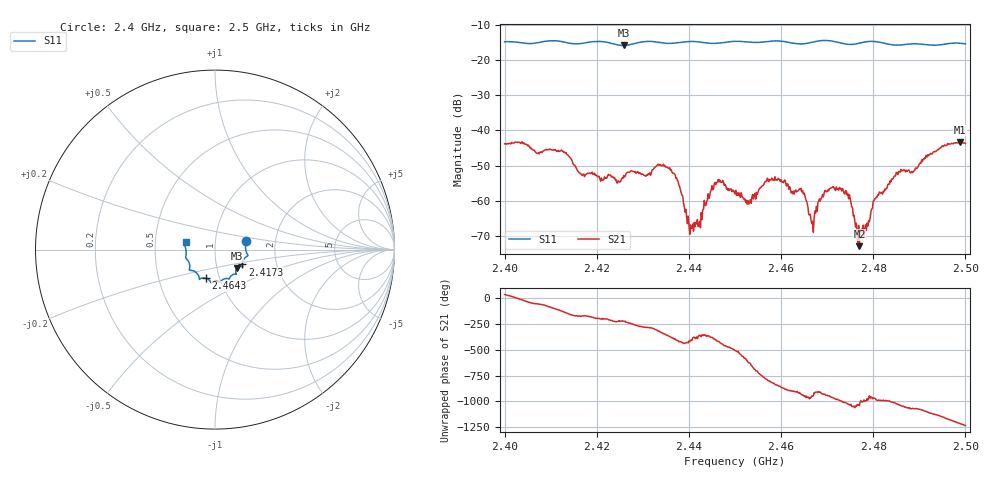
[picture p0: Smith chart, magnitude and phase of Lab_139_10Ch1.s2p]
# Hz S RI R 50
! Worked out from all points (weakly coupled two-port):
!   601 points, 2.4 GHz to 2.5 GHz, reference 50 ohm
!   highest |S21| = -43.29 dB at 2.4988 GHz (marker M1); lowest = -72.9 dB at 2.477 GHz (marker M2)
!   lowest |S11| = -15.9 dB at 2.4258 GHz (marker M3), VSWR 1.38, Z = 62.3 - j13.3 ohm
!   |S11| at or under -10 dB: start of sweep to end of sweep
!   S12 and S22 are empty: the file has one direction only
!   S11 on the Smith chart (normalised r, x): 2.4 GHz: 1.41, +0.14; 2.4173 GHz: 1.34, -0.23; 2.4643 GHz: 0.86, -0.28; 2.5 GHz: 0.72, +0.06
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2.4e9  0.1734 0.0494  0.00537 0.00355  0 0  0 0
2.412667e9  0.1757 -0.0387  -0.00333 -0.00384  0 0  0 0
2.416667e9  0.153 -0.075  -0.00238 -0.000202  0 0  0 0
2.417333e9  0.1524 -0.0824  -0.00218 -0.000333  0 0  0 0
2.425833e9  0.1215 -0.1037  -0.00165 0.00158  0 0  0 0
2.433333e9  0.1126 -0.1365  0.00249 0.00217  0 0  0 0
2.437167e9  0.0866 -0.1499  0.00155 -0.00141  0 0  0 0
2.4405e9  0.079 -0.1642  0.000281 -0.000294  0 0  0 0
2.442333e9  0.0732 -0.1631  0.000514 -1.08e-05  0 0  0 0
2.446e9  0.0471 -0.1648  0.00106 -0.00145  0 0  0 0
2.45e9  0.0295 -0.1806  -0.00106 -0.00069  0 0  0 0
2.453e9  0.0175 -0.1773  -5.07e-05 0.000898  0 0  0 0
2.458167e9  -0.0192 -0.1837  -0.000346 -0.00194  0 0  0 0
2.464333e9  -0.0504 -0.1603  -0.00132 0.000727  0 0  0 0
2.466667e9  -0.0762 -0.1598  -0.000324 0.000347  0 0  0 0
2.469333e9  -0.0874 -0.1666  -0.00109 0.000667  0 0  0 0
2.4725e9  -0.089 -0.1515  -7.34e-05 0.00142  0 0  0 0
2.4745e9  -0.1019 -0.1309  0.000723 0.00104  0 0  0 0
2.477e9  -0.1268 -0.1168  0.000172 0.000149  0 0  0 0
2.483333e9  -0.1406 -0.0895  0.000165 0.00173  0 0  0 0
2.498833e9  -0.1688 0.035  -0.0047 -0.00498  0 0  0 0
2.5e9  -0.1633 0.0415  -0.00574 -0.0031  0 0  0 0
